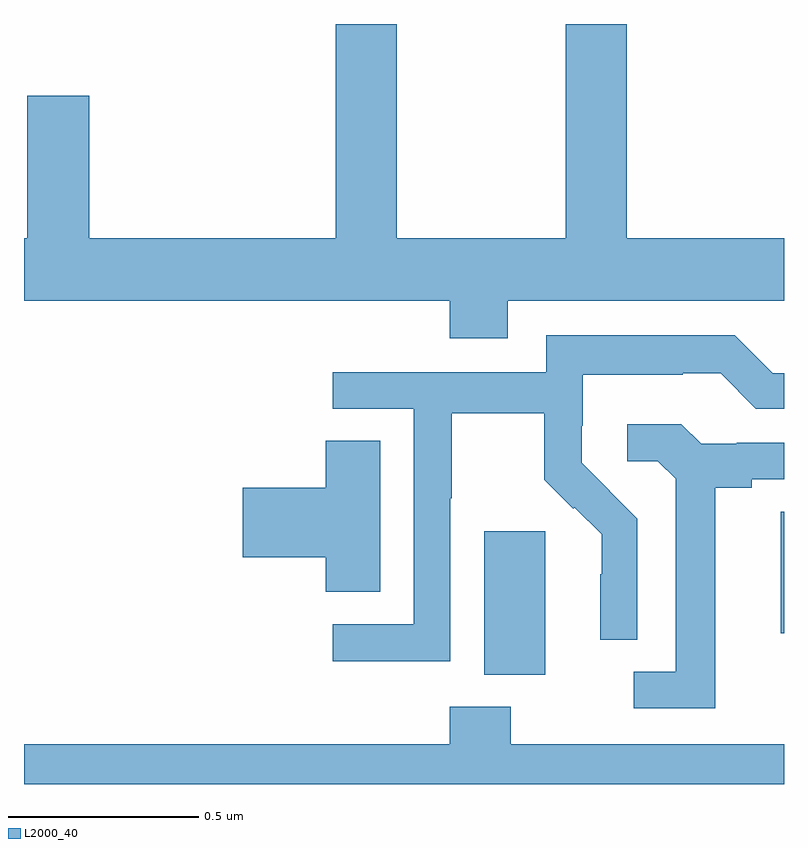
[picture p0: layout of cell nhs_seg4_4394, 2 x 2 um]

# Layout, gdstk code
import gdstk
lib = gdstk.Library(unit=1e-6, precision=1e-09)
def R(c, l, rs):  # rectangles x0, y0, x1, y1
    for r in rs: c.add(gdstk.rectangle(r[:2], r[2:], *l))
def P(c, l, *ps):  # polygons
    for p in ps: c.add(gdstk.Polygon(p, *l))
L2000_40 = (2000, 40)

nhs_seg4_4394 = lib.new_cell('nhs_seg4_4394')
R(nhs_seg4_4394, L2000_40, [(166.211,777.188,166.372,777.565), (166.991,777.297,167,777.617)])
P(nhs_seg4_4394, L2000_40, [(166.273,778.172),(167,778.172),(167,778.336),(166.586,778.336),(166.586,778.9),(166.426,778.9),(166.426,778.336),(165.981,778.336),(165.981,778.9),(165.821,778.9),(165.821,778.336),(165.172,778.336),(165.172,778.711),(165.008,778.711),(165.008,778.336),(165,778.336),(165,778.172),(166.121,778.172),(166.121,778.073),(166.273,778.073)],
  [(166.122,777.652),(166.125,777.652),(166.125,777.876),(166.369,777.876),(166.369,777.701),(166.446,777.624),(166.449,777.627),(166.52,777.557),(166.52,777.452),(166.517,777.452),(166.517,777.28),(166.614,777.28),(166.614,777.598),(166.541,777.671),(166.542,777.672),(166.468,777.746),(166.468,777.843),(166.47,777.843),(166.47,777.977),(166.733,777.977),(166.733,777.981),(166.833,777.981),(166.926,777.888),(167,777.888),(167,777.981),(166.971,777.981),(166.871,778.081),(166.374,778.081),(166.374,777.984),(165.813,777.984),(165.813,777.888),(166.026,777.888),(166.026,777.321),(165.813,777.321),(165.813,777.223),(166.122,777.223)],
  [(166.819,777.68),(166.915,777.68),(166.915,777.702),(167,777.702),(167,777.798),(166.876,777.798),(166.876,777.795),(166.782,777.795),(166.73,777.847),(166.587,777.847),(166.587,777.75),(166.668,777.75),(166.715,777.703),(166.715,777.195),(166.605,777.195),(166.605,777.099),(166.819,777.099)],
  [(165.937,777.803),(165.794,777.803),(165.794,777.68),(165.576,777.68),(165.576,777.497),(165.794,777.497),(165.794,777.406),(165.937,777.406)],
  [(167,777.004),(166.281,777.004),(166.281,777.103),(166.121,777.103),(166.121,777.004),(165,777.004),(165,776.9),(167,776.9)])

lib.write_gds('nhs_seg4_4394.gds')
